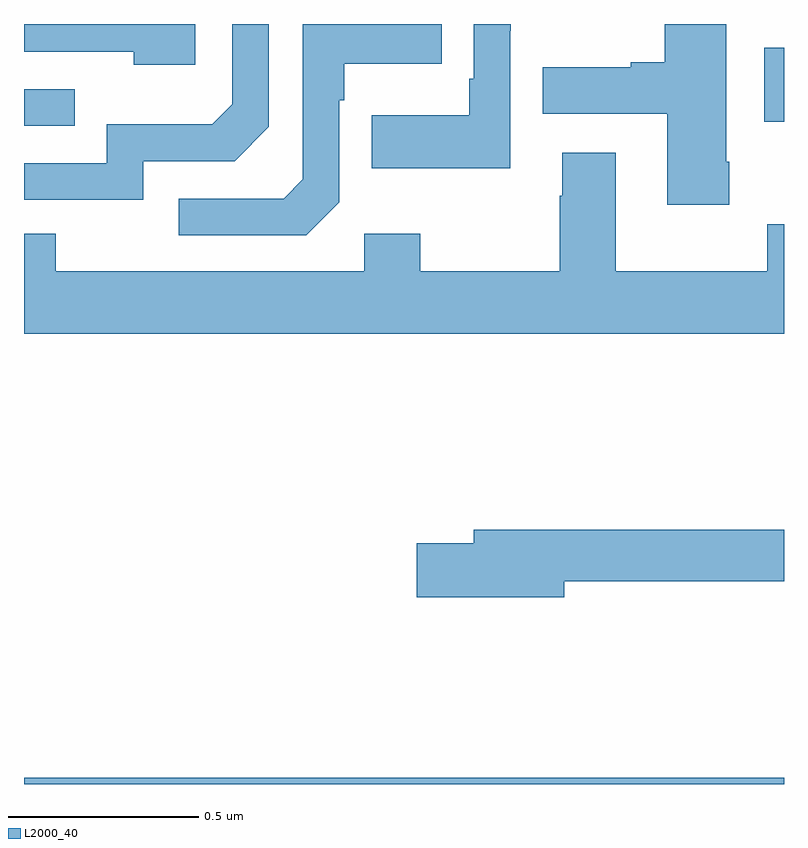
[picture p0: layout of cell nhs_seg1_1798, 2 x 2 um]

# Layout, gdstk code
import gdstk
lib = gdstk.Library(unit=1e-6, precision=1e-09)
def R(c, l, rs):  # rectangles x0, y0, x1, y1
    for r in rs: c.add(gdstk.rectangle(r[:2], r[2:], *l))
def P(c, l, *ps):  # polygons
    for p in ps: c.add(gdstk.Polygon(p, *l))
L2000_40 = (2000, 40)

nhs_seg1_1798 = lib.new_cell('nhs_seg1_1798')
R(nhs_seg1_1798, L2000_40, [(133,565.199,135,565.216), (133,566.931,133.133,567.027), (134.948,566.942,135,567.136)])
P(nhs_seg1_1798, L2000_40, [(133.314,566.838),(133.554,566.838),(133.644,566.928),(133.644,567.199),(133.548,567.199),(133.548,566.988),(133.495,566.935),(133.218,566.935),(133.218,566.832),(133,566.832),(133,566.736),(133.314,566.736)],
  [(133.45,567.199),(133,567.199),(133,567.126),(133.289,567.126),(133.289,567.092),(133.45,567.092)],
  [(133.83,566.73),(133.83,566.999),(133.843,566.999),(133.843,567.095),(134.099,567.095),(134.099,567.199),(133.734,567.199),(133.734,566.79),(133.683,566.739),(133.407,566.739),(133.407,566.643),(133.743,566.643)],
  [(134.28,567.181),(134.281,567.181),(134.281,567.199),(134.184,567.199),(134.184,567.055),(134.172,567.055),(134.172,566.959),(133.915,566.959),(133.915,566.819),(134.28,566.819)],
  [(134.856,566.836),(134.848,566.836),(134.848,567.199),(134.686,567.199),(134.686,567.098),(134.597,567.098),(134.597,567.085),(134.365,567.085),(134.365,566.963),(134.693,566.963),(134.693,566.724),(134.856,566.724)],
  [(135,566.672),(134.956,566.672),(134.956,566.548),(134.557,566.548),(134.557,566.86),(134.417,566.86),(134.417,566.747),(134.41,566.747),(134.41,566.548),(134.043,566.548),(134.043,566.647),(133.896,566.647),(133.896,566.548),(133.083,566.548),(133.083,566.647),(133,566.647),(133,566.384),(135,566.384)],
  [(134.422,565.732),(135,565.732),(135,565.868),(134.183,565.868),(134.183,565.832),(134.034,565.832),(134.034,565.69),(134.422,565.69)])

lib.write_gds('nhs_seg1_1798.gds')
